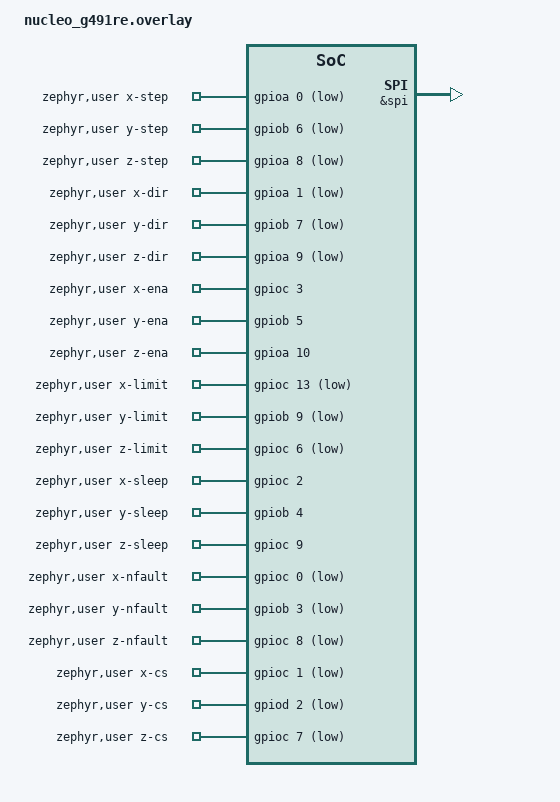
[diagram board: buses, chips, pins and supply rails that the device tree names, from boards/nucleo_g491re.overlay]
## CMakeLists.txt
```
cmake_minimum_required(VERSION 3.20)

# for global installs
find_package(Zephyr REQUIRED HINTS $ENV{ZEPHYR_BASE})

# populated the $PROJECT_NAME var and this is what the output files are named 
project(firepod)

# app is a predesignated target that zephyr uses
target_sources(app PRIVATE src/main.c src/featherReader.c)


#[[
Example from my capstone project:
cmake_minimum_required(VERSION 3.22)

find_package(Zephyr REQUIRED HINTS $ENV{ZEPHYR_BASE})
project(firepod)

# Include dirs so the Bosch API header is visible
target_include_directories(app PRIVATE
    ${CMAKE_CURRENT_SOURCE_DIR}/src
    ${CMAKE_CURRENT_SOURCE_DIR}/src/bosch/BME68x_SensorAPI
)

# All source files, including the Bosch driver and your stubs
target_sources(app PRIVATE
    src/main.c
    src/sensor_thread.c
    src/lora_thread.c
    src/base_station_thread.c
    src/bme688_stubs.c
    src/bosch/BME68x_SensorAPI/bme68x.c
)
]]
```

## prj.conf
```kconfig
CONFIG_GPIO=y
CONFIG_SERIAL=y
CONFIG_CONSOLE=y
CONFIG_UART_CONSOLE=y
```

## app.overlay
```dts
&usart1 {
    pinctrl-0 = <&usart1_tx_pa9 &usart1_rx_pa10>;
    pinctrl-names = "default";
    current-speed = <9600>;
    status = "okay";
};
```

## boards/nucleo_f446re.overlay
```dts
/* hi so this is like the device tree overlay, aka like which hardwares are connected to where

WHAT NEEDS TO BE IMPL FOR THE ACC PCB:
    SPI PROTOCAL FOR THE MOTORS
    ENA PINS FOR THE MOTORS

    */
#include <zephyr/dt-bindings/gpio/gpio.h>


/{
    zephyr,user {
        /* STEP GPIOS:
            every pulse moves the motor one microstep
            # of pulses = how far it foes
            how fast my pulse = how fast it goes  */
        step-gpios = <&gpioa 8 (GPIO_ACTIVE_LOW | GPIO_OPEN_DRAIN)>;
        /* DIR GPIOS:
            this picks like which way the motor goes (right or left)
            we set this before stepping and wait at least 5 mu/sec after changing it */
        dir-gpios  = <&gpiob 10 (GPIO_ACTIVE_LOW | GPIO_OPEN_DRAIN)>;

        ena-gpios = <&gpiob 14 GPIO_ACTIVE_LOW>;
        /* ENA GPIOS:
            this turns the driver's power on/off
            for the testing driver this is alr enabled by default when unconnected
            so that;s why we dont have it yet... but will need to impl for the real one*/

        /* TODO: impl ENA GPIOS for the actual driver  */
        /* TODO: impl the spi protocal for the actual driver (we dont need it for the curr one) */

    };
};
```

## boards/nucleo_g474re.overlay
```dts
/* hi so this is like the device tree overlay, aka like which hardwares are connected to where

WHAT NEEDS TO BE IMPL FOR THE ACC PCB:
    SPI PROTOCAL FOR THE MOTORS
    ENA PINS FOR THE MOTORS

    */
#include <zephyr/dt-bindings/gpio/gpio.h>


/{
    zephyr,user {
        /* STEP GPIOS:
            every pulse moves the motor one microstep
            # of pulses = how far it foes
            how fast my pulse = how fast it goes  */
        step-gpios = <&gpioa 8 (GPIO_ACTIVE_LOW | GPIO_OPEN_DRAIN)>;
        /* DIR GPIOS:
            this picks like which way the motor goes (right or left)
            we set this before stepping and wait at least 5 mu/sec after changing it */
        dir-gpios = <&gpiob 10 (GPIO_ACTIVE_LOW | GPIO_OPEN_DRAIN)>;
        ena-gpios = <&gpiob 14 GPIO_ACTIVE_LOW>;
        /* ENA GPIOS:
            this turns the driver's power on/off
            for the testing driver this is alr enabled by default when unconnected
            so that;s why we dont have it yet... but will need to impl for the real one*/

        /* TODO: impl ENA GPIOS for the actual driver  */
        /* TODO: impl the spi protocal for the actual driver (we dont need it for the curr one) */

    };
};
```

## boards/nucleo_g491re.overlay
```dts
/* hi so this is like the device tree overlay, aka like which hardwares are connected to where

WHAT NEEDS TO BE IMPL FOR THE ACC PCB:
    SPI PROTOCAL FOR THE MOTORS
    ENA PINS FOR THE MOTORS

    */
#include <zephyr/dt-bindings/gpio/gpio.h>
#include <zephyr/dt-bindings/spi/spi.h>


/{
    zephyr,user {
        /* STEP GPIOS:
            every pulse moves the motor one microstep
            # of pulses = how far it foes
            how fast my pulse = how fast it goes  */

        //FINISH UP ON THE SETTING AFTER THE SPI PROTOCAL IS DONE
        x-step-gpios = <&gpioa 0 (GPIO_ACTIVE_LOW | GPIO_OPEN_DRAIN)>;
        y-step-gpios = <&gpiob 6 (GPIO_ACTIVE_LOW | GPIO_OPEN_DRAIN)>;
        z-step-gpios = <&gpioa 8 (GPIO_ACTIVE_LOW | GPIO_OPEN_DRAIN)>;
        /* DIR GPIOS:
            this picks like which way the motor goes (right or left)
            we set this before stepping and wait at least 5 mu/sec after changing it */
        x-dir-gpios = <&gpioa 1 (GPIO_ACTIVE_LOW | GPIO_OPEN_DRAIN)>;
        y-dir-gpios = <&gpiob 7 (GPIO_ACTIVE_LOW | GPIO_OPEN_DRAIN)>;
        z-dir-gpios = <&gpioa 9 (GPIO_ACTIVE_LOW | GPIO_OPEN_DRAIN)>;


        x-ena-gpios = <&gpioc 3 GPIO_ACTIVE_HIGH>;
        y-ena-gpios = <&gpiob 5 GPIO_ACTIVE_HIGH>;
        z-ena-gpios = <&gpioa 10 GPIO_ACTIVE_HIGH>;

        /* ENA GPIOS:
            this turns the driver's power on/off
            for the testing driver this is alr enabled by default when unconnected
            so that;s why we dont have it yet... but will need to impl for the real one*/
        x-limit-gpios = <&gpioc 13 GPIO_ACTIVE_LOW>;
        y-limit-gpios = <&gpiob 9 GPIO_ACTIVE_LOW>;
        z-limit-gpios = <&gpioc 6 GPIO_ACTIVE_LOW>;

        /* TODO: impl the spi protocal for the actual driver (we dont need it for the curr one) */

        // the SLEEP PINS
        x-sleep-gpios = <&gpioc 2 GPIO_ACTIVE_HIGH>;
        y-sleep-gpios = <&gpiob 4 GPIO_ACTIVE_HIGH>;
        z-sleep-gpios = <&gpioc 9 GPIO_ACTIVE_HIGH>;

        // NFAULTTT
        x-nfault-gpios = <&gpioc 0 (GPIO_ACTIVE_LOW | GPIO_OPEN_DRAIN)>;
        y-nfault-gpios = <&gpiob 3 (GPIO_ACTIVE_LOW | GPIO_OPEN_DRAIN)>;
        z-nfault-gpios = <&gpioc 8 (GPIO_ACTIVE_LOW | GPIO_OPEN_DRAIN)>;

        // what are cs pins? --> PROGRRAMS THE MICROSTEPPING MOD (CHIP SELEC.)
        x-cs-gpios = <&gpioc 1 GPIO_ACTIVE_LOW>;
        y-cs-gpios = <&gpiod 2 GPIO_ACTIVE_LOW>;
        z-cs-gpios = <&gpioc 7 GPIO_ACTIVE_LOW>;

    };


    /*
       TODO:: DOUBLE CHECK ON THE SPI OVERLAY
    */
    &spi {
        status = "okay";

        spi-mosi-gpios = <&gpioc 12 GPIO_ACTIVE_LOW>;
        spi-miso-gpios = <&gpioc 11 GPIO_ACTIVE_LOW>;
        spi-sck-gpios = <&gpioc 10 GPIO_ACTIVE_LOW>;



    }
};
```

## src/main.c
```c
// #include <stdio.h>
#include <zephyr/kernel.h>
// zephyr/device.h is included eventually through kernel.h
#include <zephyr/drivers/gpio.h>

#include <zephyr/device.h>
#include <zephyr/drivers/uart.h>
#include <zephyr/sys/printk.h>
#include <zephyr/sys/ring_buffer.h>

#define RADIATIONINDEX 1
#define CEHCKSUMINDEX 2

#define STX 0x02
#define ETX 0x03
/// ask about this and overlays
static const struct device *uart_feather = DEVICE_DT_GET(DT_NODELABEL(usart1));

//single buffer for now
RING_BUF_DECLARE(bufA, 128);
// buffer with only radiation data
RING_BUF_DECLARE(bufRad, 20);
K_SEM_DEFINE(semFeather, 0, 1);

volatile uint8_t threshold = 1; // need to figure out how the app can change this value.

void feather_rx_uart_cb(const struct device *dev, void *user_data) {
    uint8_t buf[20];
    int num_bytes;

    if (!uart_irq_update(dev)) {
        return;
    }

    // keep putting into buffer, give semaphore
    while (uart_irq_rx_ready(dev)) {
        num_bytes = uart_fifo_read(dev, buf, sizeof(buf));
        if (num_bytes > 0) {
            ring_buf_put(&bufA, buf, num_bytes);
            k_sem_give(&semFeather);
        }
    }
}

int parse_packet(uint8_t frame[]) {
    // the frame is structured as STX radiation checksum ETX
    // checksum is raditation value plus STX (2)
    uint8_t checksumVal = frame[CEHCKSUMINDEX]; 
    uint8_t checksum = (STX + frame[RADIATIONINDEX]);
    uint8_t radiation = frame[RADIATIONINDEX];

    if (checksumVal != checksum) {
        return -1;
    }

    if (radiation >= threshold ) {
        // activate interupt.
        // irq_enable(IRQ_Radiation);
    }

    printk("%d\n", radiation);

    // single buffer for now
    ring_buf_put(&bufRad, &radiation, sizeof(radiation));

    /* double buffer
    if (ring_buf_space_get(&bufA) == 0) {
         printk("Buffer B");
        ring_buf_put(&bufB, radiation, 1);
    } else {
        printk("Buffer A");
        ring_buf_put(&bufA, radiation, 1);
    }
    */
    return 0;
}

void buf_reader(void *p1, void *p2, void *p3) {
    uint8_t buf[32];
    uint8_t packet[4];
    int packetLen = 0;

    while (1) {
        k_sem_take(&semFeather, K_FOREVER);

        int num_bytes;
        while ((num_bytes = ring_buf_get(&bufA, buf, sizeof(buf))) > 0) {
            for (int i = 0; i < num_bytes; i++) {
                uint8_t b = buf[i];

                if (packetLen == 0) {          // waiting for start
                    if (b == STX) {
                        packet[packetLen++] = b;
                    }
                    continue;
                }

                packet[packetLen++] = b;       // STX, rad, checksum, ETX
                if (packetLen == 4) {
                    if (b == ETX) {
                        parse_packet(packet);  // checksum checked inside
                    }
                    packetLen = 0;             // reset for next STX
                }
            }
        }
    }
}

K_THREAD_DEFINE(reader, 1024, buf_reader, NULL, NULL, NULL, 5, 0, 0);

int feather_serial_isr_init(void) {
    // setup
    if (!device_is_ready(uart_feather)) {
        return -1;
    }

    uart_irq_callback_user_data_set(uart_feather, feather_rx_uart_cb, NULL);
    uart_irq_rx_enable(uart_feather);

    return 0;
}

// This is accessing the DeviceTree node through its label (can see the entire devicetree in generated zephyr.dts file in the build directory)
#define LED2 DT_ALIAS(led0)

// 'gpios' refers to the property name within the led0 node, which is itself inside the leds parent node in the devicetree
// you can see this^^ in code if you search for the 'zephyr/boards/nordic/nrf54l15dk/nrf54l15dk_common.dtsi' file
static const struct gpio_dt_spec led_2 = GPIO_DT_SPEC_GET(LED2, gpios);

int main(void)
{
    feather_serial_isr_init();

    while (true) {
        /* switch (state) {
            case STATE_IDLE:
                wait for command from the app to start scanning.
            case STATE_TESTING:
                test trying to read data
                the data will be stored in a buffer.
            case STATE_MONITORING:
                move motors and scan for radiation, continue to read data
                move motors left to right and then right to left row by row.
                when done with one face, rotate to another face.
            case STATE_RESCAN:
                reconfirm radiation level reading,
                move motors to scan the area agai.
                after confirmation, switch back to STATE_MONITORING
            case STATE_CLEANUP:
                clean up after done with scanning, 
                move motors to home whith limit siwtches.
                send report to the app
                switch to STATE_IDLE
           }
        */
       k_msleep(100);
    }
}
```

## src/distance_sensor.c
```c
#include <zephyr/kernel.h>
#include <zephyr/drivers/gpio.h>
#include <zephyr/logging/log.h>
#include "VL53L4CD_api.h"
#include "VL53L4CD_calibration.h"

LOG_MODULE_REGISTER(distance_sensor, LOG_LEVEL_INF);

#define MODE_INTERRUPT 0
#define MODE_POLLING   1
#define MODE_CALIBRATE 2

#define SENSOR_MODE MODE_POLLING

#define SENSOR_ADDR            0x29
#define THRESH_LOW_MM          24
#define THRESH_HIGH_MM         50
#define OFFSET_MM              0
#define CAL_TARGET_MM          100
#define CAL_SAMPLES            20
#define SENSOR_THREAD_STACK    2048
#define SENSOR_THREAD_PRIORITY 0

static const struct gpio_dt_spec irq_pin = GPIO_DT_SPEC_GET(DT_PATH(zephyr_user), irq_gpios);
static struct gpio_callback irq_cb;
K_SEM_DEFINE(sensor_sem, 0, 1);

static void sensor_isr(const struct device *port, struct gpio_callback *cb, uint32_t pins)
{
    k_sem_give(&sensor_sem);
}

static int sensor_init_common(void)
{
    uint16_t id = 0;

    if (VL53L4CD_GetSensorId(SENSOR_ADDR, &id) || id != 0xEBAA) {
        LOG_ERR("Sensor not found (id 0x%04X)", id);
        return -1;
    }
    LOG_INF("Sensor found (id 0x%04X)", id);

    if (VL53L4CD_SensorInit(SENSOR_ADDR)) {
        LOG_ERR("Sensor init failed");
        return -1;
    }

    if (SENSOR_MODE != MODE_CALIBRATE) {
        VL53L4CD_SetOffset(SENSOR_ADDR, OFFSET_MM);
        LOG_INF("Offset applied: %d mm", OFFSET_MM);
    }

    VL53L4CD_SetRangeTiming(SENSOR_ADDR, 50, 0);
    return 0;
}

static void run_calibration(void)
{
    int16_t offset = 0;

    LOG_INF("Place a flat target at %d mm. Starting in 5 s...", CAL_TARGET_MM);
    k_msleep(5000);

    if (VL53L4CD_CalibrateOffset(SENSOR_ADDR, CAL_TARGET_MM, &offset, CAL_SAMPLES)) {
        LOG_ERR("Calibration failed");
        return;
    }
    LOG_INF("Calibration done. Set OFFSET_MM to %d", offset);
}

static void run_polling(void)
{
    VL53L4CD_ResultsData_t r;
    uint8_t ready = 0;

    VL53L4CD_StartRanging(SENSOR_ADDR);
    LOG_INF("Polling mode started");

    while (1) {
        VL53L4CD_CheckForDataReady(SENSOR_ADDR, &ready);
        if (ready) {
            VL53L4CD_GetResult(SENSOR_ADDR, &r);
            VL53L4CD_ClearInterrupt(SENSOR_ADDR);
            LOG_INF("Distance: %u mm (status %u)", r.distance_mm, r.range_status);
        }
        k_msleep(1000);
    }
}

static void run_interrupt(void)
{
    VL53L4CD_ResultsData_t r;

    VL53L4CD_SetDetectionThresholds(SENSOR_ADDR, THRESH_LOW_MM, THRESH_HIGH_MM, 0);

    gpio_pin_configure_dt(&irq_pin, GPIO_INPUT);
    gpio_pin_interrupt_configure_dt(&irq_pin, GPIO_INT_EDGE_TO_ACTIVE);
    gpio_init_callback(&irq_cb, sensor_isr, BIT(irq_pin.pin));
    gpio_add_callback(irq_pin.port, &irq_cb);

    VL53L4CD_StartRanging(SENSOR_ADDR);
    LOG_INF("Interrupt mode started (threshold %d mm)", THRESH_LOW_MM);

    while (1) {
        k_sem_take(&sensor_sem, K_FOREVER);
        VL53L4CD_GetResult(SENSOR_ADDR, &r);
        VL53L4CD_ClearInterrupt(SENSOR_ADDR);

        if (r.range_status == 0 && r.distance_mm < THRESH_LOW_MM) {
            LOG_INF("Object detected: %u mm", r.distance_mm);
        } else {
            LOG_WRN("Interrupt with unconfirmed reading: %u mm (status %u)",
                    r.distance_mm, r.range_status);
        }
    }
}

static void sensor_thread(void *a, void *b, void *c)
{
    if (sensor_init_common()) {
        return;
    }

    if (SENSOR_MODE == MODE_CALIBRATE) {
        run_calibration();
    } else if (SENSOR_MODE == MODE_POLLING) {
        run_polling();
    } else {
        run_interrupt();
    }
}

K_THREAD_DEFINE(sensor_tid, SENSOR_THREAD_STACK, sensor_thread, NULL, NULL, NULL,
                SENSOR_THREAD_PRIORITY, 0, 0);
```

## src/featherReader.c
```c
#include <zephyr/kernel.h>
#include <zephyr/device.h>
#include <zephyr/drivers/uart.h>
#include <zephyr/sys/printk.h>
#include <zephyr/sys/ring_buffer.h>

#define STX 0x02
#define ETX 0x03

#define RADIATIONINDEX 1
#define CEHCKSUMINDEX 2

/// ask about this and overlays
static const struct device *uart = DEVICE_DT_GET(DT_NODELABEL(lpuart1));

//RING_BUF_DECLARE(bufDump, 200);

//single buffer for now 5 frames, 20 bytes, 4 bytes each
RING_BUF_DECLARE(bufA, 20);
//RING_BUF_DECLARE(bufB, 10);
// buffer with only radiation data
RING_BUF_DECLARE(bufRad, 20);
K_SEM_DEFINE(semFeather, 0, 1);

float threshold = 1; // need to figure out how the app can change this value.

void uart_cb(const struct device *dev, void *user_data) {
    uint8_t buf[20];
    int n;

    if (!uart_irq_update(dev)) {
        return;
    }

    // keep putting into buffer, give semaphore when buffer is full
    while (uart_irq_rx_ready(dev)) {
        n = uart_fifo_read(dev, buf, sizeof(buf));
        if (n > 0) {
            ring_buf_put(&bufA, buf, n);
            k_sem_give(&semFeather);
        }
    }
}

int parsePacket(uint8_t frame[]) {
    // the frame is structured as STX radiation checksum ETX
    // checksum is raditation value plus STX (2)
    uint8_t checksumVal = frame[CEHCKSUMINDEX]; 
    uint8_t checksum = (STX + frame[RADIATIONINDEX]);
    uint8_t radiation = frame[RADIATIONINDEX];

    if (checksumVal != checksum) {
        return -1;
    }

    if (radiation >= threshold ) {
        // activate interupt.
        // irq_enable(IRQ_Radiation);
    }

    printk("%d", radiation);

    // single buffer for now
    ring_buf_put(&bufRad, &radiation, sizeof(radiation));

    /* double buffer
    if (ring_buf_space_get(&bufA) == 0) {
         printk("Buffer B");
        ring_buf_put(&bufB, radiation, 1);
    } else {
        printk("Buffer A");
        ring_buf_put(&bufA, radiation, 1);
    }
    */
    return 0;
}

void bufReader() {
    uint8_t buf[20];
    uint8_t n;
    uint8_t packet[4];
    int packetLen = 0;
    while (1) {
        k_sem_take(&semFeather, K_FOREVER);

        n = ring_buf_get(&bufA, buf, sizeof(buf));

        bool startFound = false;

        if (n > 1) {
            for (int i = 0; i < n; i++) {
                if (buf[i] == STX) {
                    startFound = true;
                    packet[packetLen] = buf[i];
                    packetLen++;
                    continue;
                }

                if (startFound && (packetLen < 4)) {
                    packet[packetLen] = buf[i];
                    packetLen++;
                }

                if (buf[i] == ETX && startFound && (packetLen == 4)) {
                    parsePacket(packet);
                    k_sem_give(&semFeather);
                    startFound = false;
                    packetLen = 0;
                }

                if (packetLen > 4) {
                    packetLen = 0;
                    startFound = false;
                }
            }
        }
    }
}

// is this right...
K_THREAD_DEFINE(reader, 1024, bufReader,
		NULL, NULL, NULL, 5, 0, 0);

int featherSerialISR() {
    // setup
    if (!device_is_ready(uart)) {
        //return?
        return -1;
    }

    uart_irq_callback_user_data_set(uart, uart_cb, NULL);
    uart_irq_rx_enable(uart);

    return 0;
}

// fill the buffer. once filled. give semaphore.
// take semaphore, parse through buffer to get frame, then get radiation, check checksum, check radiation interupt. fill another buffer with just radiation data. 
```

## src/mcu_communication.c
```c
#include <zephyr/kernel.h>
#include <zephyr/device.h>
#include <zephyr/drivers/uart.h>
#include <zephyr/sys/printk.h>
#include <zephyr/sys/ring_buffer.h>

#define STX 0x02
#define ETX 0x03

#define RADIATIONINDEX 1
#define CEHCKSUMINDEX 2

/// ask about this and overlays
static const struct device *uart_feather = DEVICE_DT_GET(DT_NODELABEL(usart1));
static const struct device *uart_pc = DEVICE_DT_GET(DT_NODELABEL(lpuart1));

//RING_BUF_DECLARE(bufDump, 200);
//single buffer for now 5 frames, 20 bytes, 4 bytes each
RING_BUF_DECLARE(bufA, 20);
//RING_BUF_DECLARE(bufB, 10);
// buffer with only radiation data
RING_BUF_DECLARE(bufRad, 20);
K_SEM_DEFINE(semFeather, 0, 1);

K_SEM_DEFINE(pc_send_sem, 0, 1);

float threshold = 1; // need to figure out how the app can change this value.

void feather_rx_uart_cb(const struct device *dev, void *user_data) {
    uint8_t buf[20];
    int num_bytes;

    if (!uart_irq_update(dev)) {
        return;
    }

    // keep putting into buffer, give semaphore when buffer is full
    while (uart_irq_rx_ready(dev)) {
        num_bytes = uart_fifo_read(dev, buf, sizeof(buf));
        if (num_bytes > 0) {
            ring_buf_put(&bufA, buf, num_bytes);
            k_sem_give(&semFeather);
        }
    }
}

int parse_packet(uint8_t frame[]) {
    // the frame is structured as STX radiation checksum ETX
    // checksum is raditation value plus STX (2)
    uint8_t checksumVal = frame[CEHCKSUMINDEX]; 
    uint8_t checksum = (STX + frame[RADIATIONINDEX]);
    uint8_t radiation = frame[RADIATIONINDEX];

    if (checksumVal != checksum) {
        return -1;
    }

    if (radiation >= threshold ) {
        // activate interupt.
        // irq_enable(IRQ_Radiation);
    }

    printk("%d", radiation);

    // single buffer for now
    ring_buf_put(&bufRad, &radiation, sizeof(radiation));

    /* double buffer
    if (ring_buf_space_get(&bufA) == 0) {
         printk("Buffer B");
        ring_buf_put(&bufB, radiation, 1);
    } else {
        printk("Buffer A");
        ring_buf_put(&bufA, radiation, 1);
    }
    */
    return 0;
}

void buf_reader() {
    uint8_t buf[20];
    uint8_t n;
    uint8_t packet[4];
    int packetLen = 0;

    while (1) {
        k_sem_take(&semFeather, K_FOREVER);

        n = ring_buf_get(&bufA, buf, sizeof(buf));

        bool startFound = false;

        if (n > 1) {
            for (int i = 0; i < n; i++) {
                if (buf[i] == STX) {
                    startFound = true;
                    packet[packetLen] = buf[i];
                    packetLen++;
                    continue;
                }

                if (startFound && (packetLen < 4)) {
                    packet[packetLen] = buf[i];
                    packetLen++;
                }

                if (buf[i] == ETX && startFound && (packetLen == 4)) {
                    parse_packet(packet);
                    k_sem_give(&semFeather);
                    startFound = false;
                    packetLen = 0;
                }

                if (packetLen > 4) {
                    packetLen = 0;
                    startFound = false;
                }
            }
        }
    }
}

K_THREAD_DEFINE(reader, 1024, buf_reader, NULL, NULL, NULL, 5, 0, 0);

int feather_serial_isr_init() {
    // setup
    if (!device_is_ready(uart_feather)) {
        return -1;
    }

    uart_irq_callback_user_data_set(uart_feather, feather_rx_uart_cb, NULL);
    uart_irq_rx_disable(uart_feather);

    return 0;
}

// pc communication
void pc_rx_uart_cb(const struct device *dev, void *user_data) {
    uint8_t buf[20];
    int n;

    if (!uart_irq_update(dev)) {
        return;
    }
}

void pc_tx_uart_cb(const struct device *dev, void *user_data) {
    // position, face, timestamp (ill get it from the pc), value
    uint8_t packet[20];
    int packet_len;

    int num_bytes;

    if (!uart_irq_update(dev)) {
        return;
    }

    if (ring_buf_size_get(&bufRad) == 0) {
        uart_irq_tx_disable(uart_pc);
    } else {
        while (uart_irq_tx_ready(dev)) {
            /*
                packet[0] = STX
                uint_t rad;
                rad = ring_buf_get(&bufRad, &rad, 1)
                packet[1] = rad
                packet[2] = X Position
                packet[3] = Y Position
                Packet[4] = Z Position
                Packet[5] = face
                Packet[6] = limit swtich value
                ...
                packet[...] = EXT
            */
            num_bytes = uart_fifo_fill(dev, packet, sizeof(packet));
        }
    }
}

int pc_send_signal() {
    while (1) {
        if (!ring_buf_is_empty(&bufRad)) {
            uart_irq_tx_enable(uart_pc);
        }
    }
}

int pc_serial_isr_init() {
    // setup
    if (!device_is_ready(uart_pc)) {
        return -1;
    }

    uart_irq_callback_user_data_set(uart_pc, pc_rx_uart_cb, NULL);
    uart_irq_callback_user_data_set(uart_pc, pc_tx_uart_cb, NULL);

    uart_irq_rx_enable(uart_pc);
    uart_irq_tx_disable(uart_pc);

    return 0;
}

// fill the buffer. once filled. give semaphore.
// take semaphore, parse through buffer to get frame, then get radiation, check checksum, check radiation interupt. fill another buffer with just radiation data. 
// if the mcu reads "start" { uart_irq_rx_enable(uart_pc); }
```

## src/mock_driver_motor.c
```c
/* 

    THIS IS WHERE THE LOGIC GOES FOR ALL OF THE MOTOR CODE THAT WAS INTENDED FOR THE 
    MOCK MOTOR DRIVER.

*/
```

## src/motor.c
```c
#define USER_NODE DT_PATH(zephyr_user)

static const struct gpio_dt_spec x_step_pin = GPIO_DT_SPEC_GET(USER_NODE, x_step_gpios);
static const struct gpio_dt_spec y_step_pin = GPIO_DT_SPEC_GET(USER_NODE, y_step_gpios);
static const struct gpio_dt_spec z_step_pin = GPIO_DT_SPEC_GET(USER_NODE, z_step_gpios);

static const struct gpio_dt_spec x_dir_pin = GPIO_DT_SPEC_GET(USER_NODE, x_dir_gpios);
static const struct gpio_dt_spec y_dir_pin = GPIO_DT_SPEC_GET(USER_NODE, y_dir_gpios);
static const struct gpio_dt_spec z_dir_pin = GPIO_DT_SPEC_GET(USER_NODE, z_dir_gpios);

static const struct gpio_dt_spec x_ena_pin = GPIO_DT_SPEC_GET(USER_NODE, x_ena_gpios);
static const struct gpio_dt_spec y_ena_pin = GPIO_DT_SPEC_GET(USER_NODE, y_ena_gpios);
static const struct gpio_dt_spec z_ena_pin = GPIO_DT_SPEC_GET(USER_NODE, z_ena_gpios);

static const struct gpio_dt_spec x_limit_pin = GPIO_DT_SPEC_GET(USER_NODE, x_limit_gpios);
static const struct gpio_dt_spec y_limit_pin = GPIO_DT_SPEC_GET(USER_NODE, y_limit_gpios);
static const struct gpio_dt_spec z_limit_pin = GPIO_DT_SPEC_GET(USER_NODE, z_limit_gpios);

static const struct gpio_dt_spec x_limit_pin = GPIO_DT_SPEC_GET(USER_NODE, x_sleep_gpios);
static const struct gpio_dt_spec y_limit_pin = GPIO_DT_SPEC_GET(USER_NODE, y_sleep_gpios);
static const struct gpio_dt_spec z_limit_pin = GPIO_DT_SPEC_GET(USER_NODE, z_sleep_gpios);

static const struct gpio_dt_spec x_nfault_pin = GPIO_DT_SPEC_GET(USER_NODE, x_nfault_gpios);
static const struct gpio_dt_spec y_nfault_pin = GPIO_DT_SPEC_GET(USER_NODE, y_nfault_gpios);
static const struct gpio_dt_spec z_nfault_pin = GPIO_DT_SPEC_GET(USER_NODE, z_nfault_gpios);

static const struct gpio_dt_spec x_cs_pin = GPIO_DT_SPEC_GET(USER_NODE, x_cs_gpios);
static const struct gpio_dt_spec y_cs_pin = GPIO_DT_SPEC_GET(USER_NODE, y_cs_gpios);
static const struct gpio_dt_spec z_cs_pin = GPIO_DT_SPEC_GET(USER_NODE, z_cs_gpios);
```

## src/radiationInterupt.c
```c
#include <zephyr/kernel.h>
#include <zephyr/irq.h>

#define MY_DEV_IRQ  24       /* device uses IRQ 24 */ // find the number
#define MY_DEV_PRIO  2       /* device uses interrupt priority 2 */
/* argument passed to my_isr(), in this case a pointer to the device */
#define MY_ISR_ARG  DEVICE_GET(my_device) // can pass arguments to the isr function
#define MY_IRQ_FLAGS 0       /* IRQ flags */ //configure how the isr is ran, 0 means run normally.

void my_isr(void *arg)
{
    //switch state
}

void my_isr_installer(void)
{
   IRQ_CONNECT(MY_DEV_IRQ, MY_DEV_PRIO, my_isr, MY_ISR_ARG, MY_IRQ_FLAGS);
   // if (radiation data > threshold) {
    // irq_enable(MY_DEV_IRQ);
   // }
}
```

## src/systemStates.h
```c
#ifndef SYSTEM_STATES
#define SYSTEM_STATES

#include <stdint.h>

typedef enum {
    STATE_IDLE = 0,     // idle
    STATE_TESTING,      // testing data reading from radeye
    STATE_MONITORING,   // scanning for radiation level
    STATE_RESCAN,       // reconfirm radiation level reading
    STATE_CLEANUP       // clean up after done with scanning

} system_state_t;

#endif
```
